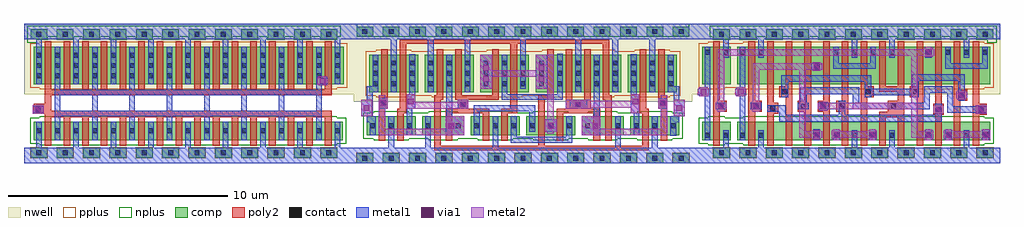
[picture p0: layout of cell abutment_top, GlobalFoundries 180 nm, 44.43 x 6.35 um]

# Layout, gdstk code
from math import pi, radians
import gdstk
lib = gdstk.Library(unit=1e-6, precision=1e-09)
def R(c, l, rs):  # rectangles x0, y0, x1, y1
    for r in rs: c.add(gdstk.rectangle(r[:2], r[2:], *l))
def A(c, l, x, y, w, h, nx, ny, dx, dy):  # array of equal rectangles
    R(c, l, [(x+i*dx, y+j*dy, x+i*dx+w, y+j*dy+h) for i in range(nx) for j in range(ny)])
nwell = (21, 0)
comp = (22, 0)
poly2 = (30, 0)
pplus = (31, 0)
nplus = (32, 0)
contact = (33, 0)
metal1 = (34, 0)
via1 = (35, 0)
metal2 = (36, 0)

gf180mcu_gp9t3v3__comp2_ = lib.new_cell('gf180mcu_gp9t3v3__comp2_1')
R(gf180mcu_gp9t3v3__comp2_, nwell, [(-64.31,67.205,-48.88,70.765)])
R(gf180mcu_gp9t3v3__comp2_, comp, [(-64.17,64.415,-63.42,64.865), (-64.17,64.415,-63.42,64.865), (-64.17,64.415,-63.42,64.865), (-64.17,64.415,-63.42,64.865), (-62.97,64.415,-62.22,64.865), (-62.97,64.415,-62.22,64.865), (-62.97,64.415,-62.22,64.865), (-62.97,64.415,-62.22,64.865), (-61.77,64.415,-61.02,64.865), (-61.77,64.415,-61.02,64.865), (-60.57,64.415,-59.82,64.865), (-60.57,64.415,-59.82,64.865), (-59.37,64.415,-58.62,64.865), (-59.37,64.415,-58.62,64.865), (-58.17,64.415,-57.42,64.865), (-58.17,64.415,-57.42,64.865), (-56.97,64.415,-56.22,64.865), (-56.97,64.415,-56.22,64.865), (-55.77,64.415,-55.02,64.865), (-55.77,64.415,-55.02,64.865), (-54.57,64.415,-53.82,64.865), (-54.57,64.415,-53.82,64.865), (-53.37,64.415,-52.62,64.865), (-53.37,64.415,-52.62,64.865), (-52.17,64.415,-51.42,64.865), (-52.17,64.415,-51.42,64.865), (-50.97,64.415,-50.22,64.865), (-50.97,64.415,-50.22,64.865), (-49.77,64.415,-49.02,64.865), (-49.77,64.415,-49.02,64.865), (-49.77,64.415,-49.02,64.865), (-49.77,64.415,-49.02,64.865), (-63.705,65.695,-61.485,66.545), (-63.705,65.695,-61.485,66.545), (-61.185,65.695,-59.265,66.545), (-61.185,65.695,-59.265,66.545), (-58.965,65.695,-56.745,66.545), (-58.965,65.695,-56.745,66.545), (-56.445,65.695,-54.225,66.545), (-56.445,65.695,-54.225,66.545), (-53.925,65.695,-52.005,66.545), (-53.925,65.695,-52.005,66.545), (-51.705,65.695,-49.485,66.545), (-51.705,65.695,-49.485,66.545), (-63.585,67.655,-61.365,69.355), (-63.585,67.655,-61.365,69.355), (-61.065,67.655,-57.165,69.355), (-61.065,67.655,-57.165,69.355), (-56.865,67.655,-54.645,69.355), (-56.865,67.655,-54.645,69.355), (-54.345,67.655,-52.125,69.355), (-54.345,67.655,-52.125,69.355), (-51.825,67.655,-49.605,69.355), (-51.825,67.655,-49.605,69.355), (-64.17,70.185,-63.42,70.635), (-64.17,70.185,-63.42,70.635), (-62.97,70.185,-62.22,70.635), (-62.97,70.185,-62.22,70.635), (-62.97,70.185,-62.22,70.635), (-62.97,70.185,-62.22,70.635), (-61.77,70.185,-61.02,70.635), (-61.77,70.185,-61.02,70.635), (-60.57,70.185,-59.82,70.635), (-60.57,70.185,-59.82,70.635), (-59.37,70.185,-58.62,70.635), (-59.37,70.185,-58.62,70.635), (-58.17,70.185,-57.42,70.635), (-58.17,70.185,-57.42,70.635), (-56.97,70.185,-56.22,70.635), (-56.97,70.185,-56.22,70.635), (-55.77,70.185,-55.02,70.635), (-55.77,70.185,-55.02,70.635), (-54.57,70.185,-53.82,70.635), (-54.57,70.185,-53.82,70.635), (-53.37,70.185,-52.62,70.635), (-53.37,70.185,-52.62,70.635), (-52.17,70.185,-51.42,70.635), (-52.17,70.185,-51.42,70.635), (-50.97,70.185,-50.22,70.635), (-50.97,70.185,-50.22,70.635), (-49.77,70.185,-49.02,70.635), (-49.77,70.185,-49.02,70.635)])
R(gf180mcu_gp9t3v3__comp2_, poly2, [(-62.325,65.005,-52.545,65.205), (-62.325,65.005,-52.545,65.205), (-62.325,65.205,-62.025,66.685), (-62.325,65.205,-62.025,66.685), (-57.585,65.205,-57.285,67.315), (-57.585,65.205,-57.285,67.315), (-52.845,65.205,-52.545,67.315), (-52.845,65.205,-52.545,67.315), (-63.165,65.445,-62.865,66.895), (-63.165,65.445,-62.865,66.895), (-60.645,65.445,-60.345,67.315), (-60.645,65.445,-60.345,67.315), (-60.105,65.445,-59.805,66.685), (-60.105,65.445,-59.805,66.685), (-58.425,65.445,-58.125,66.685), (-58.425,65.445,-58.125,66.685), (-55.905,65.445,-55.605,66.685), (-55.905,65.445,-55.605,66.685), (-55.065,65.445,-54.765,66.685), (-55.065,65.445,-54.765,66.685), (-53.385,65.445,-53.085,66.685), (-53.385,65.445,-53.085,66.685), (-51.165,65.445,-50.865,66.685), (-51.165,65.445,-50.865,66.685), (-50.325,65.445,-50.025,66.895), (-50.325,65.445,-50.025,66.895), (-62.325,66.685,-61.905,66.885), (-62.325,66.685,-61.905,66.885), (-60.105,66.685,-58.125,66.885), (-60.105,66.685,-58.125,66.885), (-56.325,66.685,-55.605,66.885), (-56.325,66.685,-55.605,66.885), (-55.065,66.685,-53.085,66.885), (-55.065,66.685,-53.085,66.885), (-51.285,66.685,-50.865,66.885), (-51.285,66.685,-50.865,66.885), (-62.205,66.885,-61.905,69.605), (-62.205,66.885,-61.905,69.605), (-59.685,66.885,-58.545,67.31), (-59.685,66.885,-58.545,67.31), (-56.325,66.885,-56.025,69.845), (-56.325,66.885,-56.025,69.845), (-54.11,66.885,-53.615,67.315), (-54.11,66.885,-53.615,67.315), (-51.285,66.885,-50.985,69.845), (-51.285,66.885,-50.985,69.845), (-63.165,66.895,-62.745,67.515), (-63.165,66.895,-62.745,67.515), (-50.445,66.895,-50.025,67.515), (-50.445,66.895,-50.025,67.515), (-59.685,67.31,-59.385,69.605), (-59.685,67.31,-59.385,69.605), (-58.845,67.31,-58.545,69.605), (-58.845,67.31,-58.545,69.605), (-60.645,67.315,-60.225,67.515), (-60.645,67.315,-60.225,67.515), (-58.005,67.315,-57.285,67.515), (-58.005,67.315,-57.285,67.515), (-55.485,67.315,-53.505,67.515), (-55.485,67.315,-53.505,67.515), (-52.965,67.315,-52.545,67.515), (-52.965,67.315,-52.545,67.515), (-63.045,67.515,-62.745,69.605), (-63.045,67.515,-62.745,69.605), (-60.525,67.515,-60.225,69.845), (-60.525,67.515,-60.225,69.845), (-58.005,67.515,-57.705,69.605), (-58.005,67.515,-57.705,69.605), (-55.485,67.515,-55.185,69.605), (-55.485,67.515,-55.185,69.605), (-53.805,67.515,-53.505,69.605), (-53.805,67.515,-53.505,69.605), (-52.965,67.515,-52.665,69.605), (-52.965,67.515,-52.665,69.605), (-50.445,67.515,-50.145,69.605), (-50.445,67.515,-50.145,69.605), (-60.525,69.845,-50.985,70.045), (-60.525,69.845,-50.985,70.045)])
R(gf180mcu_gp9t3v3__comp2_, pplus, [(-64.19,64.415,-63.4,64.885), (-64.19,64.415,-63.4,64.885), (-62.99,64.415,-62.2,64.885), (-62.99,64.415,-62.2,64.885), (-61.79,64.415,-61,64.885), (-61.79,64.415,-61,64.885), (-60.59,64.415,-59.8,64.885), (-60.59,64.415,-59.8,64.885), (-59.39,64.415,-58.6,64.885), (-59.39,64.415,-58.6,64.885), (-58.19,64.415,-57.4,64.885), (-58.19,64.415,-57.4,64.885), (-56.99,64.415,-56.2,64.885), (-56.99,64.415,-56.2,64.885), (-55.79,64.415,-55,64.885), (-55.79,64.415,-55,64.885), (-54.59,64.415,-53.8,64.885), (-54.59,64.415,-53.8,64.885), (-53.39,64.415,-52.6,64.885), (-53.39,64.415,-52.6,64.885), (-52.19,64.415,-51.4,64.885), (-52.19,64.415,-51.4,64.885), (-50.99,64.415,-50.2,64.885), (-50.99,64.415,-50.2,64.885), (-49.77,64.415,-49,64.885), (-49.77,64.415,-49,64.885), (-63.275,67.425,-61.675,67.495), (-63.275,67.425,-61.675,67.495), (-60.755,67.425,-57.475,67.495), (-60.755,67.425,-57.475,67.495), (-56.555,67.425,-54.955,67.495), (-56.555,67.425,-54.955,67.495), (-54.035,67.425,-52.435,67.495), (-54.035,67.425,-52.435,67.495), (-51.515,67.425,-49.915,67.495), (-51.515,67.425,-49.915,67.495), (-63.745,67.495,-49.445,69.515), (-63.745,67.495,-49.445,69.515), (-63.275,69.515,-61.675,69.585), (-63.275,69.515,-61.675,69.585), (-60.755,69.515,-57.475,69.585), (-60.755,69.515,-57.475,69.585), (-56.555,69.515,-54.955,69.585), (-56.555,69.515,-54.955,69.585), (-54.035,69.515,-52.435,69.585), (-54.035,69.515,-52.435,69.585), (-51.515,69.515,-49.915,69.585), (-51.515,69.515,-49.915,69.585)])
R(gf180mcu_gp9t3v3__comp2_, nplus, [(-63.395,65.465,-61.795,65.535), (-63.395,65.465,-61.795,65.535), (-60.875,65.465,-59.575,65.535), (-60.875,65.465,-59.575,65.535), (-58.655,65.465,-57.055,65.535), (-58.655,65.465,-57.055,65.535), (-56.135,65.465,-54.535,65.535), (-56.135,65.465,-54.535,65.535), (-53.615,65.465,-52.315,65.535), (-53.615,65.465,-52.315,65.535), (-51.395,65.465,-49.795,65.535), (-51.395,65.465,-49.795,65.535), (-63.865,65.535,-49.325,66.705), (-63.865,65.535,-49.325,66.705), (-63.395,66.705,-61.795,66.775), (-63.395,66.705,-61.795,66.775), (-60.875,66.705,-59.575,66.775), (-60.875,66.705,-59.575,66.775), (-58.655,66.705,-57.055,66.775), (-58.655,66.705,-57.055,66.775), (-56.135,66.705,-54.535,66.775), (-56.135,66.705,-54.535,66.775), (-53.615,66.705,-52.315,66.775), (-53.615,66.705,-52.315,66.775), (-51.395,66.705,-49.795,66.775), (-51.395,66.705,-49.795,66.775), (-64.17,70.165,-63.4,70.175), (-64.17,70.165,-63.4,70.175), (-62.99,70.165,-62.2,70.175), (-62.99,70.165,-62.2,70.175), (-62.99,70.165,-62.2,70.175), (-62.99,70.165,-62.2,70.175), (-61.79,70.165,-61,70.175), (-61.79,70.165,-61,70.175), (-60.59,70.165,-59.8,70.175), (-60.59,70.165,-59.8,70.175), (-59.39,70.165,-58.6,70.175), (-59.39,70.165,-58.6,70.175), (-58.19,70.165,-57.4,70.175), (-58.19,70.165,-57.4,70.175), (-56.99,70.165,-56.2,70.175), (-56.99,70.165,-56.2,70.175), (-55.79,70.165,-55,70.175), (-55.79,70.165,-55,70.175), (-54.59,70.165,-53.8,70.175), (-54.59,70.165,-53.8,70.175), (-53.39,70.165,-52.6,70.175), (-53.39,70.165,-52.6,70.175), (-52.19,70.165,-51.4,70.175), (-52.19,70.165,-51.4,70.175), (-50.99,70.165,-50.2,70.175), (-50.99,70.165,-50.2,70.175), (-49.79,70.165,-49.02,70.175), (-49.79,70.165,-49.02,70.175), (-64.17,70.175,-49.02,70.765), (-64.17,70.175,-49.02,70.765)])
R(gf180mcu_gp9t3v3__comp2_, contact, [(-63.905,64.53,-63.685,64.75), (-63.905,64.53,-63.685,64.75), (-63.905,64.53,-63.685,64.75), (-63.905,64.53,-63.685,64.75), (-62.705,64.53,-62.485,64.75), (-62.705,64.53,-62.485,64.75), (-62.705,64.53,-62.485,64.75), (-62.705,64.53,-62.485,64.75), (-61.505,64.53,-61.285,64.75), (-61.505,64.53,-61.285,64.75), (-60.305,64.53,-60.085,64.75), (-60.305,64.53,-60.085,64.75), (-59.105,64.53,-58.885,64.75), (-59.105,64.53,-58.885,64.75), (-57.905,64.53,-57.685,64.75), (-57.905,64.53,-57.685,64.75), (-56.705,64.53,-56.485,64.75), (-56.705,64.53,-56.485,64.75), (-55.505,64.53,-55.285,64.75), (-55.505,64.53,-55.285,64.75), (-54.305,64.53,-54.085,64.75), (-54.305,64.53,-54.085,64.75), (-53.105,64.53,-52.885,64.75), (-53.105,64.53,-52.885,64.75), (-51.905,64.53,-51.685,64.75), (-51.905,64.53,-51.685,64.75), (-50.705,64.53,-50.485,64.75), (-50.705,64.53,-50.485,64.75), (-49.505,64.53,-49.285,64.75), (-49.505,64.53,-49.285,64.75), (-49.505,64.53,-49.285,64.75), (-49.505,64.53,-49.285,64.75), (-63.545,66.01,-63.325,66.23), (-63.545,66.01,-63.325,66.23), (-62.705,66.01,-62.485,66.23), (-62.705,66.01,-62.485,66.23), (-61.865,66.01,-61.645,66.23), (-61.865,66.01,-61.645,66.23), (-61.025,66.01,-60.805,66.23), (-61.025,66.01,-60.805,66.23), (-59.645,66.01,-59.425,66.23), (-59.645,66.01,-59.425,66.23), (-58.805,66.01,-58.585,66.23), (-58.805,66.01,-58.585,66.23), (-57.965,66.01,-57.745,66.23), (-57.965,66.01,-57.745,66.23), (-57.125,66.01,-56.905,66.23), (-57.125,66.01,-56.905,66.23), (-56.285,66.01,-56.065,66.23), (-56.285,66.01,-56.065,66.23), (-55.445,66.01,-55.225,66.23), (-55.445,66.01,-55.225,66.23), (-54.605,66.01,-54.385,66.23), (-54.605,66.01,-54.385,66.23), (-53.765,66.01,-53.545,66.23), (-53.765,66.01,-53.545,66.23), (-52.385,66.01,-52.165,66.23), (-52.385,66.01,-52.165,66.23), (-51.545,66.01,-51.325,66.23), (-51.545,66.01,-51.325,66.23), (-50.705,66.01,-50.485,66.23), (-50.705,66.01,-50.485,66.23), (-49.865,66.01,-49.645,66.23), (-49.865,66.01,-49.645,66.23), (-59.21,66.98,-58.99,67.2), (-59.21,66.98,-58.99,67.2), (-53.97,66.98,-53.75,67.2), (-53.97,66.98,-53.75,67.2), (-63.065,67.05,-62.845,67.27), (-63.065,67.05,-62.845,67.27), (-50.345,67.05,-50.125,67.27), (-50.345,67.05,-50.125,67.27), (-63.425,67.925,-63.205,68.145), (-63.425,67.925,-63.205,68.145), (-62.585,67.925,-62.365,68.145), (-62.585,67.925,-62.365,68.145), (-61.745,67.925,-61.525,68.145), (-61.745,67.925,-61.525,68.145), (-60.905,67.925,-60.685,68.145), (-60.905,67.925,-60.685,68.145), (-60.065,67.925,-59.845,68.145), (-60.065,67.925,-59.845,68.145), (-59.225,67.925,-59.005,68.145), (-59.225,67.925,-59.005,68.145), (-58.385,67.925,-58.165,68.145), (-58.385,67.925,-58.165,68.145), (-57.545,67.925,-57.325,68.145), (-57.545,67.925,-57.325,68.145), (-56.705,67.925,-56.485,68.145), (-56.705,67.925,-56.485,68.145), (-55.865,67.925,-55.645,68.145), (-55.865,67.925,-55.645,68.145), (-55.025,67.925,-54.805,68.145), (-55.025,67.925,-54.805,68.145), (-54.185,67.925,-53.965,68.145), (-54.185,67.925,-53.965,68.145), (-53.345,67.925,-53.125,68.145), (-53.345,67.925,-53.125,68.145), (-52.505,67.925,-52.285,68.145), (-52.505,67.925,-52.285,68.145), (-51.665,67.925,-51.445,68.145), (-51.665,67.925,-51.445,68.145), (-50.825,67.925,-50.605,68.145), (-50.825,67.925,-50.605,68.145), (-49.985,67.925,-49.765,68.145), (-49.985,67.925,-49.765,68.145), (-63.425,68.395,-63.205,68.615), (-63.425,68.395,-63.205,68.615), (-62.585,68.395,-62.365,68.615), (-62.585,68.395,-62.365,68.615), (-61.745,68.395,-61.525,68.615), (-61.745,68.395,-61.525,68.615), (-60.905,68.395,-60.685,68.615), (-60.905,68.395,-60.685,68.615), (-60.065,68.395,-59.845,68.615), (-60.065,68.395,-59.845,68.615), (-59.225,68.395,-59.005,68.615), (-59.225,68.395,-59.005,68.615), (-58.385,68.395,-58.165,68.615), (-58.385,68.395,-58.165,68.615), (-57.545,68.395,-57.325,68.615), (-57.545,68.395,-57.325,68.615), (-56.705,68.395,-56.485,68.615), (-56.705,68.395,-56.485,68.615), (-55.865,68.395,-55.645,68.615), (-55.865,68.395,-55.645,68.615), (-55.025,68.395,-54.805,68.615), (-55.025,68.395,-54.805,68.615), (-54.185,68.395,-53.965,68.615), (-54.185,68.395,-53.965,68.615), (-53.345,68.395,-53.125,68.615), (-53.345,68.395,-53.125,68.615), (-52.505,68.395,-52.285,68.615), (-52.505,68.395,-52.285,68.615), (-51.665,68.395,-51.445,68.615), (-51.665,68.395,-51.445,68.615), (-50.825,68.395,-50.605,68.615), (-50.825,68.395,-50.605,68.615), (-49.985,68.395,-49.765,68.615), (-49.985,68.395,-49.765,68.615), (-63.425,68.865,-63.205,69.085), (-63.425,68.865,-63.205,69.085), (-62.585,68.865,-62.365,69.085), (-62.585,68.865,-62.365,69.085), (-61.745,68.865,-61.525,69.085), (-61.745,68.865,-61.525,69.085), (-60.905,68.865,-60.685,69.085), (-60.905,68.865,-60.685,69.085), (-60.065,68.865,-59.845,69.085), (-60.065,68.865,-59.845,69.085), (-59.225,68.865,-59.005,69.085), (-59.225,68.865,-59.005,69.085), (-58.385,68.865,-58.165,69.085), (-58.385,68.865,-58.165,69.085), (-57.545,68.865,-57.325,69.085), (-57.545,68.865,-57.325,69.085), (-56.705,68.865,-56.485,69.085), (-56.705,68.865,-56.485,69.085), (-55.865,68.865,-55.645,69.085), (-55.865,68.865,-55.645,69.085), (-55.025,68.865,-54.805,69.085), (-55.025,68.865,-54.805,69.085), (-54.185,68.865,-53.965,69.085), (-54.185,68.865,-53.965,69.085), (-53.345,68.865,-53.125,69.085), (-53.345,68.865,-53.125,69.085), (-52.505,68.865,-52.285,69.085), (-52.505,68.865,-52.285,69.085), (-51.665,68.865,-51.445,69.085), (-51.665,68.865,-51.445,69.085), (-50.825,68.865,-50.605,69.085), (-50.825,68.865,-50.605,69.085), (-49.985,68.865,-49.765,69.085), (-49.985,68.865,-49.765,69.085), (-63.905,70.3,-63.685,70.52), (-63.905,70.3,-63.685,70.52), (-62.705,70.3,-62.485,70.52), (-62.705,70.3,-62.485,70.52), (-62.705,70.3,-62.485,70.52), (-62.705,70.3,-62.485,70.52), (-61.505,70.3,-61.285,70.52), (-61.505,70.3,-61.285,70.52), (-60.305,70.3,-60.085,70.52), (-60.305,70.3,-60.085,70.52), (-59.105,70.3,-58.885,70.52), (-59.105,70.3,-58.885,70.52), (-57.905,70.3,-57.685,70.52), (-57.905,70.3,-57.685,70.52), (-56.705,70.3,-56.485,70.52), (-56.705,70.3,-56.485,70.52), (-55.505,70.3,-55.285,70.52), (-55.505,70.3,-55.285,70.52), (-54.305,70.3,-54.085,70.52), (-54.305,70.3,-54.085,70.52), (-53.105,70.3,-52.885,70.52), (-53.105,70.3,-52.885,70.52), (-51.905,70.3,-51.685,70.52), (-51.905,70.3,-51.685,70.52), (-50.705,70.3,-50.485,70.52), (-50.705,70.3,-50.485,70.52), (-49.505,70.3,-49.285,70.52), (-49.505,70.3,-49.285,70.52)])
A(gf180mcu_gp9t3v3__comp2_, metal1, -62.605, 67.655, 0.26, 2.28, 3, 1, 1.68, 0)
A(gf180mcu_gp9t3v3__comp2_, metal1, -62.605, 67.655, 0.26, 2.41, 3, 1, 1.68, 0)
A(gf180mcu_gp9t3v3__comp2_, metal1, -54.205, 67.655, 0.26, 2.28, 3, 1, 1.68, 0)
A(gf180mcu_gp9t3v3__comp2_, metal1, -54.205, 67.655, 0.26, 2.41, 3, 1, 1.68, 0)
R(gf180mcu_gp9t3v3__comp2_, metal1, [(-64.31,64.415,-48.88,65.115), (-62.725,65.115,-62.465,66.545), (-62.725,65.115,-62.465,66.545), (-61.045,65.115,-60.785,66.545), (-61.045,65.115,-60.785,66.545), (-55.47,65.115,-55.21,66.545), (-55.47,65.115,-55.21,66.545), (-52.405,65.115,-52.145,66.545), (-52.405,65.115,-52.145,66.545), (-50.725,65.115,-50.465,66.545), (-50.725,65.115,-50.465,66.545), (-58.83,65.355,-56.045,65.615), (-58.83,65.355,-56.045,65.615), (-58.83,65.615,-58.57,66.545), (-58.83,65.615,-58.57,66.545), (-56.305,65.615,-56.045,66.545), (-56.305,65.615,-56.045,66.545), (-63.565,65.67,-63.305,66.285), (-63.565,65.67,-63.305,66.285), (-61.89,65.695,-61.63,66.685), (-61.89,65.695,-61.63,66.685), (-60.105,65.695,-59.265,66.545), (-60.105,65.695,-59.265,66.545), (-54.625,65.695,-54.365,66.785), (-54.625,65.695,-54.365,66.785), (-53.925,65.695,-53.085,66.545), (-53.925,65.695,-53.085,66.545), (-51.565,65.695,-51.305,66.885), (-51.565,65.695,-51.305,66.885), (-49.885,65.7,-49.625,66.285), (-49.885,65.7,-49.625,66.285), (-58.125,65.855,-57.585,66.425), (-58.125,65.855,-57.585,66.425), (-57.145,65.855,-56.885,66.785), (-57.145,65.855,-56.885,66.785), (-63.715,66.285,-63.305,66.545), (-63.715,66.285,-63.305,66.545), (-49.885,66.285,-49.485,66.545), (-49.885,66.285,-49.485,66.545), (-63.96,66.545,-63.455,67.31), (-63.96,66.545,-63.455,67.31), (-60.085,66.545,-59.825,69.355), (-60.085,66.545,-59.825,69.355), (-53.365,66.545,-53.105,69.355), (-53.365,66.545,-53.105,69.355), (-49.745,66.545,-49.23,67.31), (-49.745,66.545,-49.23,67.31), (-61.89,66.685,-61.51,67.565), (-61.89,66.685,-61.51,67.565), (-57.145,66.785,-54.365,67.045), (-57.145,66.785,-54.365,67.045), (-59.51,66.885,-58.725,67.31), (-59.51,66.885,-58.725,67.31), (-54.11,66.885,-53.615,67.315), (-54.11,66.885,-53.615,67.315), (-51.685,66.885,-51.305,67.565), (-51.685,66.885,-51.305,67.565), (-63.165,66.895,-62.745,67.375), (-63.165,66.895,-62.745,67.375), (-50.445,66.895,-50.025,67.4), (-50.445,66.895,-50.025,67.4), (-58.405,67.3,-55.625,67.56), (-58.405,67.3,-55.625,67.56), (-63.715,67.31,-63.455,67.655), (-63.715,67.31,-63.455,67.655), (-49.745,67.31,-49.485,67.655), (-49.745,67.31,-49.485,67.655), (-58.405,67.56,-58.145,69.39), (-58.405,67.56,-58.145,69.39), (-55.885,67.56,-55.625,69.355), (-55.885,67.56,-55.625,69.355), (-61.77,67.565,-61.51,69.37), (-61.77,67.565,-61.51,69.37), (-51.685,67.565,-51.425,69.37), (-51.685,67.565,-51.425,69.37), (-63.715,67.655,-63.19,67.915), (-63.715,67.655,-63.19,67.915), (-50.005,67.655,-49.485,67.915), (-50.005,67.655,-49.485,67.915), (-57.705,67.8,-57.165,69.355), (-57.705,67.8,-57.165,69.355), (-56.725,67.8,-56.465,69.935), (-56.725,67.8,-56.465,70.065), (-55.185,67.8,-54.645,69.355), (-55.185,67.8,-54.645,69.355), (-63.45,67.915,-63.19,69.355), (-63.45,67.915,-63.19,69.355), (-50.005,67.915,-49.745,69.355), (-50.005,67.915,-49.745,69.355), (-64.31,70.065,-48.88,70.765)])
R(gf180mcu_gp9t3v3__comp2_, via1, [(-60.03,65.985,-59.77,66.245), (-60.03,65.985,-59.77,66.245), (-53.455,65.985,-53.195,66.245), (-53.455,65.985,-53.195,66.245), (-57.985,65.995,-57.725,66.255), (-57.985,65.995,-57.725,66.255), (-63.84,66.8,-63.58,67.06), (-63.84,66.8,-63.58,67.06), (-49.605,66.8,-49.345,67.06), (-49.605,66.8,-49.345,67.06), (-59.23,66.96,-58.97,67.22), (-59.23,66.96,-58.97,67.22), (-53.99,66.96,-53.73,67.22), (-53.99,66.96,-53.73,67.22), (-63.085,67.03,-62.825,67.29), (-63.085,67.03,-62.825,67.29), (-50.365,67.03,-50.105,67.29), (-50.365,67.03,-50.105,67.29), (-61.835,67.095,-61.575,67.355), (-61.835,67.095,-61.575,67.355), (-51.62,67.095,-51.36,67.355), (-51.62,67.095,-51.36,67.355), (-57.565,68.115,-57.305,68.375), (-57.565,68.115,-57.305,68.375), (-55.045,68.115,-54.785,68.375), (-55.045,68.115,-54.785,68.375), (-57.565,68.635,-57.305,68.895), (-57.565,68.635,-57.305,68.895), (-55.045,68.635,-54.785,68.895), (-55.045,68.635,-54.785,68.895)])
R(gf180mcu_gp9t3v3__comp2_, metal2, [(-63.165,65.695,-59.265,65.995), (-63.165,65.695,-59.265,65.995), (-53.925,65.695,-50.025,65.995), (-53.925,65.695,-50.025,65.995), (-58.005,65.76,-57.705,65.855), (-58.005,65.76,-57.705,65.855), (-58.125,65.855,-57.585,66.425), (-58.125,65.855,-57.585,66.425), (-63.165,65.995,-62.865,66.895), (-63.165,65.995,-62.865,66.895), (-60.105,65.995,-59.265,66.545), (-60.105,65.995,-59.265,66.545), (-53.925,65.995,-53.085,66.545), (-53.925,65.995,-53.085,66.545), (-50.325,65.995,-50.025,66.895), (-50.325,65.995,-50.025,66.895), (-58.005,66.425,-57.705,67.8), (-58.005,66.425,-57.705,67.8), (-63.96,66.545,-63.465,67.31), (-63.96,66.545,-63.465,67.31), (-49.725,66.545,-49.23,67.31), (-49.725,66.545,-49.23,67.31), (-61.89,66.685,-61.51,66.95), (-61.89,66.685,-61.51,66.95), (-59.685,66.885,-58.545,66.95), (-59.685,66.885,-58.545,66.95), (-54.11,66.885,-51.305,67.185), (-54.11,66.885,-51.305,67.185), (-63.165,66.895,-62.745,67.375), (-63.165,66.895,-62.745,67.375), (-50.445,66.895,-50.025,67.4), (-50.445,66.895,-50.025,67.4), (-61.89,66.95,-58.545,67.25), (-61.89,66.95,-58.545,67.25), (-54.11,67.185,-53.615,67.315), (-54.11,67.185,-53.615,67.315), (-51.685,67.185,-51.305,67.565), (-51.685,67.185,-51.305,67.565), (-61.89,67.25,-61.51,67.565), (-61.89,67.25,-61.51,67.565), (-59.685,67.25,-58.545,67.31), (-59.685,67.25,-58.545,67.31), (-63.165,67.375,-62.865,67.515), (-63.165,67.375,-62.865,67.515), (-50.325,67.4,-50.025,67.515), (-50.325,67.4,-50.025,67.515), (-58.005,67.8,-57.165,68.35), (-58.005,67.8,-57.165,68.35), (-55.185,67.8,-54.645,68.35), (-55.185,67.8,-54.645,68.35), (-58.005,68.35,-54.645,68.65), (-58.005,68.35,-54.645,68.65), (-58.005,68.65,-57.165,69.355), (-58.005,68.65,-57.165,69.355), (-55.185,68.65,-54.645,69.355), (-55.185,68.65,-54.645,69.355)])
gf180mcu_gp9t3v3__comp2_.add(gdstk.Label('L', (-63.84,66.715), layer=36, texttype=10))
gf180mcu_gp9t3v3__comp2_.add(gdstk.Label('E', (-57.93,66.89), layer=36, texttype=10))
gf180mcu_gp9t3v3__comp2_.add(gdstk.Label('G', (-49.405,66.68), layer=36, texttype=10))
gf180mcu_gp9t3v3__comp2_.add(gdstk.Label('VDD', (-51.22,70.425), layer=34, texttype=10))
gf180mcu_gp9t3v3__comp2_.add(gdstk.Label('VSS', (-51.22,64.68), layer=34, texttype=10))
gf180mcu_gp9t3v3__comp2_.add(gdstk.Label('A', (-62.05,67), layer=30, texttype=10))
gf180mcu_gp9t3v3__comp2_.add(gdstk.Label('B', (-60.35,69.55), layer=30, texttype=10))
gf180mcu_gp9t3v3__comp2_.add(gdstk.Label('B', (-60.35,69.55), layer=30, texttype=10))
gf180mcu_gp9t3v3__comp2_.add(gdstk.Label('A', (-62.05,67), layer=30, texttype=10))

gf180mcu_osu_sc_gp9t3v3_ = lib.new_cell('gf180mcu_osu_sc_gp9t3v3__addf_1')
R(gf180mcu_osu_sc_gp9t3v3_, nwell, [(0,3.15,14,6.35)])
A(gf180mcu_osu_sc_gp9t3v3_, comp, 0.3, 0.25, 0.75, 0.45, 11, 2, 1.2, 5.4)
R(gf180mcu_osu_sc_gp9t3v3_, comp, [(0.45,1.05,11.95,1.9), (12.25,1.05,13.55,1.9), (0.45,3.6,11.95,5.3), (12.25,3.6,13.55,5.3)])
A(gf180mcu_osu_sc_gp9t3v3_, poly2, 6.9, 0.8, 0.3, 1.55, 3, 1, 0.85, 0)
A(gf180mcu_osu_sc_gp9t3v3_, poly2, 6.9, 2.85, 0.3, 2.7, 3, 1, 0.85, 0)
A(gf180mcu_osu_sc_gp9t3v3_, poly2, 3.5, 3.5, 0.3, 2.05, 4, 1, 0.85, 0)
R(gf180mcu_osu_sc_gp9t3v3_, poly2, [(0.95,0.8,1.25,2.2), (1.8,0.8,2.1,2.85), (2.65,0.8,2.95,2.2), (3.5,0.8,3.8,3), (4.35,0.8,4.65,2.1), (5.2,0.8,5.5,2.1), (6.05,0.8,6.35,3), (9.45,0.8,9.75,3), (10.3,0.8,10.6,2.25), (11.15,0.8,11.45,2.35), (12.75,0.8,13.05,2.35), (4.35,2.1,5.5,2.35), (0.6,2.2,1.25,2.7), (2.55,2.2,3.05,2.7), (10.1,2.25,10.6,2.75), (4.35,2.35,5.1,2.85), (6.9,2.35,7.45,2.85), (7.75,2.35,8.3,2.85), (8.6,2.35,9.2,2.85), (10.85,2.35,11.45,2.85), (12.45,2.35,13.05,2.85), (0.95,2.7,1.25,5.55), (2.65,2.7,2.95,5.55), (10.3,2.75,10.6,5.55), (1.5,2.85,2.1,3.35), (4.35,2.85,4.65,3.25), (11.15,2.85,11.45,5.55), (12.75,2.85,13.05,5.55), (3.5,3,4.1,3.5), (5.75,3,6.35,3.5), (9.45,3,10.05,3.5), (4.35,3.25,5.5,3.5), (1.8,3.35,2.1,5.55), (9.45,3.5,9.75,5.55)])
A(gf180mcu_osu_sc_gp9t3v3_, pplus, 0.28, 0.23, 0.79, 0.49, 11, 1, 1.2, 0)
R(gf180mcu_osu_sc_gp9t3v3_, pplus, [(0.72,3.37,11.68,3.44), (12.52,3.37,13.28,3.44), (0.29,3.44,13.71,5.46), (0.72,5.46,11.68,5.53), (12.52,5.46,13.28,5.53)])
A(gf180mcu_osu_sc_gp9t3v3_, nplus, 1.48, 5.63, 0.79, 0.13, 10, 1, 1.2, 0)
R(gf180mcu_osu_sc_gp9t3v3_, nplus, [(0.72,0.82,11.68,0.89), (12.52,0.82,13.28,0.89), (0.29,0.89,13.71,2.06), (0.72,2.06,11.68,2.13), (12.52,2.06,13.28,2.13), (0.14,5.49,0.59,5.63), (0.14,5.63,1.07,5.76), (0.14,5.76,13.21,6.26)])
A(gf180mcu_osu_sc_gp9t3v3_, contact, 0.565, 0.365, 0.22, 0.22, 11, 2, 1.2, 5.4)
A(gf180mcu_osu_sc_gp9t3v3_, contact, 0.565, 1.165, 0.22, 0.22, 4, 1, 0.85, 0)
A(gf180mcu_osu_sc_gp9t3v3_, contact, 4.815, 1.165, 0.22, 0.22, 5, 1, 0.85, 0)
A(gf180mcu_osu_sc_gp9t3v3_, contact, 0.565, 4.94, 0.22, 0.22, 3, 1, 0.85, 0)
A(gf180mcu_osu_sc_gp9t3v3_, contact, 4.815, 4.94, 0.22, 0.22, 4, 1, 0.85, 0)
R(gf180mcu_osu_sc_gp9t3v3_, contact, [(10.765,1.165,10.985,1.385), (11.615,1.165,11.835,1.385), (12.365,1.165,12.585,1.385), (13.215,1.165,13.435,1.385), (0.74,2.34,0.96,2.56), (2.69,2.34,2.91,2.56), (10.24,2.39,10.46,2.61), (4.74,2.49,4.96,2.71), (7.09,2.49,7.31,2.71), (7.94,2.49,8.16,2.71), (8.84,2.49,9.06,2.71), (10.99,2.49,11.21,2.71), (12.59,2.49,12.81,2.71), (1.64,2.99,1.86,3.21), (3.74,3.14,3.96,3.36), (5.89,3.14,6.11,3.36), (9.69,3.14,9.91,3.36), (8.215,4.29,8.435,4.51), (10.765,4.94,10.985,5.16), (11.615,4.94,11.835,5.16), (12.365,4.94,12.585,5.16), (13.215,4.94,13.435,5.16), (3.115,4.965,3.335,5.185)])
R(gf180mcu_osu_sc_gp9t3v3_, metal1, [(0,0,14,0.7), (1.4,0.7,1.65,1.5), (4.8,0.7,5.05,1.5), (6.5,0.7,6.75,1.5), (10.75,0.7,11,1.5), (12.35,0.7,12.6,1.5), (0.5,1.05,0.8,1.55), (2.2,1.05,2.5,1.55), (3.1,1.05,3.4,1.55), (5.65,1.05,5.95,1.55), (7.3,1.05,7.6,1.55), (8.2,1.05,8.5,1.55), (11.6,1.05,11.85,3.05), (13.2,1.05,13.45,3.05), (2.65,1.9,10.05,2.2), (2.65,2.2,2.95,2.7), (7.05,2.2,7.35,2.85), (9.75,2.2,10.05,2.35), (0.6,2.3,2.4,2.6), (9.75,2.35,10.6,2.65), (3.2,2.45,6.7,2.75), (7.8,2.45,8.3,2.75), (8.7,2.45,9.2,2.75), (10.85,2.45,11.35,2.75), (12.45,2.45,12.95,2.75), (2.15,2.6,2.4,3.2), (3.2,2.75,3.45,3.2), (6.4,2.75,6.7,3.15), (8.8,2.75,9.1,3.15), (1.6,2.85,1.9,3.75), (3.7,3,4,3.1), (5.85,3,6.15,3.1), (9.65,3,9.95,3.7), (11.6,3.05,11.9,3.1), (13.2,3.05,13.65,3.1), (3.7,3.1,6.15,3.4), (11.6,3.1,12.05,3.4), (13.2,3.1,13.75,3.4), (6.4,3.15,9.1,3.45), (2.15,3.2,3.45,3.5), (3.7,3.4,4,3.75), (5.85,3.4,6.15,3.7), (11.6,3.4,11.9,3.45), (13.2,3.4,13.65,3.45), (11.6,3.45,11.85,5.3), (13.2,3.45,13.45,5.3), (5.85,3.7,9.95,4), (1.6,3.75,4,4.05), (8.1,4.25,8.6,4.55), (0.55,4.3,2.5,4.55), (5.65,4.3,7.6,4.55), (0.55,4.55,0.8,5.3), (2.25,4.55,2.5,5.3), (5.65,4.55,5.9,5.3), (7.35,4.55,7.6,5.3), (1.4,4.8,1.65,5.65), (3.1,4.8,3.4,5.3), (4.8,4.8,5.05,5.65), (6.5,4.8,6.75,5.65), (10.75,4.8,11,5.65), (12.35,4.8,12.6,5.65), (0,5.65,14,6.35)])
R(gf180mcu_osu_sc_gp9t3v3_, via1, [(0.52,1.17,0.78,1.43), (2.22,1.17,2.48,1.43), (3.12,1.17,3.38,1.43), (5.67,1.17,5.93,1.43), (7.32,1.17,7.58,1.43), (8.22,1.17,8.48,1.43), (0.72,2.32,0.98,2.58), (2.67,2.32,2.93,2.58), (7.92,2.47,8.18,2.73), (10.97,2.47,11.23,2.73), (12.57,2.47,12.83,2.73), (1.62,2.97,1.88,3.23), (11.67,3.12,11.93,3.38), (13.37,3.12,13.63,3.38), (8.22,4.27,8.48,4.53), (3.12,4.92,3.38,5.18)])
R(gf180mcu_osu_sc_gp9t3v3_, metal2, [(0.5,1.05,0.8,1.1), (2.2,1.05,2.5,1.1), (3.1,1.05,3.4,1.1), (5.65,1.05,5.95,1.1), (7.3,1.05,7.6,1.1), (0.45,1.1,0.85,1.15), (2.15,1.1,2.55,1.15), (3.05,1.1,3.45,1.15), (5.6,1.1,6,1.15), (7.25,1.1,7.65,1.15), (8.15,1.1,8.55,1.15), (0.45,1.15,2.55,1.45), (3.05,1.15,4.05,1.45), (5.6,1.15,7.65,1.45), (8.1,1.15,9.15,1.45), (0.45,1.45,0.85,1.5), (2.15,1.45,2.55,1.5), (3.05,1.45,3.45,1.5), (3.75,1.45,4.05,2.45), (5.6,1.45,6,1.5), (7.25,1.45,7.65,1.5), (8.15,1.45,8.55,1.5), (8.85,1.45,9.15,4.25), (0.5,1.5,0.8,1.55), (2.2,1.5,2.5,1.55), (3.1,1.5,3.4,1.55), (5.65,1.5,5.95,1.55), (7.3,1.5,7.6,1.55), (0.6,2.25,1.1,2.65), (2.6,2.25,3,2.3), (2.55,2.3,3.05,2.6), (10.95,2.35,11.25,2.4), (12.55,2.35,12.85,2.4), (7.85,2.4,8.25,2.45), (10.9,2.4,11.3,2.8), (12.5,2.4,12.9,2.45), (3.75,2.45,8.3,2.75), (12.45,2.45,12.95,2.75), (2.6,2.6,3,2.65), (3.75,2.75,4.05,4.9), (7.85,2.75,8.25,2.8), (12.5,2.75,12.9,2.8), (10.95,2.8,11.25,4.25), (12.55,2.8,12.85,4.9), (1.55,2.9,1.95,2.95), (1.5,2.95,2,3.25), (11.6,3.05,12,3.1), (13.3,3.05,13.7,3.1), (11.55,3.1,12.05,3.4), (13.25,3.1,13.75,3.4), (1.55,3.25,1.95,3.3), (11.6,3.4,12,3.45), (13.3,3.4,13.7,3.45), (8.15,4.2,8.55,4.25), (8.1,4.25,11.25,4.55), (8.15,4.55,8.55,4.6), (3.05,4.85,3.45,4.9), (3,4.9,12.85,5.2), (3.05,5.2,3.45,5.25), (3.1,5.25,3.4,5.3)])
gf180mcu_osu_sc_gp9t3v3_.add(gdstk.Label('A', (0.85,2.45), layer=36, texttype=10))
gf180mcu_osu_sc_gp9t3v3_.add(gdstk.Label('B', (1.75,3.1), layer=36, texttype=10))
gf180mcu_osu_sc_gp9t3v3_.add(gdstk.Label('CI', (2.8,2.45), layer=36, texttype=10))
gf180mcu_osu_sc_gp9t3v3_.add(gdstk.Label('SUM', (11.8,3.25), layer=36, texttype=10))
gf180mcu_osu_sc_gp9t3v3_.add(gdstk.Label('CO', (13.5,3.25), layer=36, texttype=10))
gf180mcu_osu_sc_gp9t3v3_.add(gdstk.Label('VDD', (0.65,5.85), layer=34, texttype=10))
gf180mcu_osu_sc_gp9t3v3_.add(gdstk.Label('VSS', (0.65,0.45), layer=34, texttype=10))

c_gf180mcu_osu_sc_gp9t3v3_ = lib.new_cell('gf180mcu_osu_sc_gp9t3v3__clkinv_16')
R(c_gf180mcu_osu_sc_gp9t3v3_, nwell, [(0,3.15,15,6.35)])
A(c_gf180mcu_osu_sc_gp9t3v3_, comp, 0.3, 0.25, 0.75, 0.45, 12, 2, 1.2, 5.4)
R(c_gf180mcu_osu_sc_gp9t3v3_, comp, [(0.45,1.05,14.5,1.9), (0.45,3.6,14.55,5.3)])
A(c_gf180mcu_osu_sc_gp9t3v3_, poly2, 0.95, 0.8, 0.3, 1.3, 16, 1, 0.85, 0)
A(c_gf180mcu_osu_sc_gp9t3v3_, poly2, 0.95, 3.35, 0.3, 2.2, 16, 1, 0.85, 0)
R(c_gf180mcu_osu_sc_gp9t3v3_, poly2, [(0.95,2.1,14,2.25), (0.45,2.25,14,2.4), (0.45,2.4,1.25,2.7), (0.95,2.7,1.25,3.1), (0.95,3.1,14,3.35)])
A(c_gf180mcu_osu_sc_gp9t3v3_, pplus, 0.28, 0.23, 0.79, 0.49, 12, 1, 1.2, 0)
R(c_gf180mcu_osu_sc_gp9t3v3_, pplus, [(0.72,3.37,14.23,3.44), (0.29,3.44,14.71,5.46), (0.72,5.46,14.23,5.53)])
A(c_gf180mcu_osu_sc_gp9t3v3_, nplus, 1.48, 5.63, 0.79, 0.13, 11, 1, 1.2, 0)
R(c_gf180mcu_osu_sc_gp9t3v3_, nplus, [(0.72,0.82,14.23,0.89), (0.29,0.89,14.66,2.06), (0.72,2.06,14.23,2.13), (0.14,5.49,0.59,5.63), (0.14,5.63,1.07,5.76), (0.14,5.76,14.41,6.26)])
A(c_gf180mcu_osu_sc_gp9t3v3_, contact, 0.565, 0.365, 0.22, 0.22, 12, 2, 1.2, 5.4)
A(c_gf180mcu_osu_sc_gp9t3v3_, contact, 0.565, 1.365, 0.22, 0.22, 17, 2, 0.85, 2.505)
A(c_gf180mcu_osu_sc_gp9t3v3_, contact, 0.565, 4.34, 0.22, 0.22, 17, 2, 0.85, 0.47)
R(c_gf180mcu_osu_sc_gp9t3v3_, contact, [(0.565,2.365,0.785,2.585)])
A(c_gf180mcu_osu_sc_gp9t3v3_, metal1, 0.55, 0.7, 0.25, 1.2, 9, 1, 1.7, 0)
A(c_gf180mcu_osu_sc_gp9t3v3_, metal1, 1.4, 1.05, 0.25, 1.1, 8, 1, 1.7, 0)
A(c_gf180mcu_osu_sc_gp9t3v3_, metal1, 1.4, 2.4, 0.25, 0.7, 8, 1, 1.7, 0)
A(c_gf180mcu_osu_sc_gp9t3v3_, metal1, 1.4, 3.35, 0.25, 1.95, 7, 1, 1.7, 0)
A(c_gf180mcu_osu_sc_gp9t3v3_, metal1, 0.55, 3.6, 0.25, 2.05, 9, 1, 1.7, 0)
R(c_gf180mcu_osu_sc_gp9t3v3_, metal1, [(0,0,15,0.7), (1.4,2.15,13.55,2.4), (0.4,2.3,0.9,2.6), (1.4,3.1,13.55,3.35), (13.3,3.35,13.55,3.6), (13.3,3.6,13.85,3.9), (13.3,3.9,13.55,5.3), (0,5.65,15,6.35)])
R(c_gf180mcu_osu_sc_gp9t3v3_, via1, [(0.52,2.32,0.78,2.58), (13.47,3.62,13.73,3.88)])
R(c_gf180mcu_osu_sc_gp9t3v3_, metal2, [(0.4,2.25,0.9,2.65), (13.4,3.55,13.8,3.6), (13.35,3.6,13.85,3.9), (13.4,3.9,13.8,3.95)])
c_gf180mcu_osu_sc_gp9t3v3_.add(gdstk.Label('A', (0.65,2.45), layer=36, texttype=10))
c_gf180mcu_osu_sc_gp9t3v3_.add(gdstk.Label('Y', (13.55,3.75), layer=36, texttype=10))
c_gf180mcu_osu_sc_gp9t3v3_.add(gdstk.Label('VDD', (0.65,5.85), layer=34, texttype=10))
c_gf180mcu_osu_sc_gp9t3v3_.add(gdstk.Label('VSS', (0.65,0.45), layer=34, texttype=10))

abutment_top = lib.new_cell('abutment_top')
abutment_top.add(gdstk.Reference(gf180mcu_gp9t3v3__comp2_, (-49.98,-64.815), rotation=pi, x_reflection=True))
abutment_top.add(gdstk.Reference(gf180mcu_osu_sc_gp9t3v3_, (28.33,-0.4), rotation=pi, x_reflection=True))
abutment_top.add(gdstk.Reference(c_gf180mcu_osu_sc_gp9t3v3_, (-16.1,-0.4)))

lib.write_gds('abutment_top.gds')
